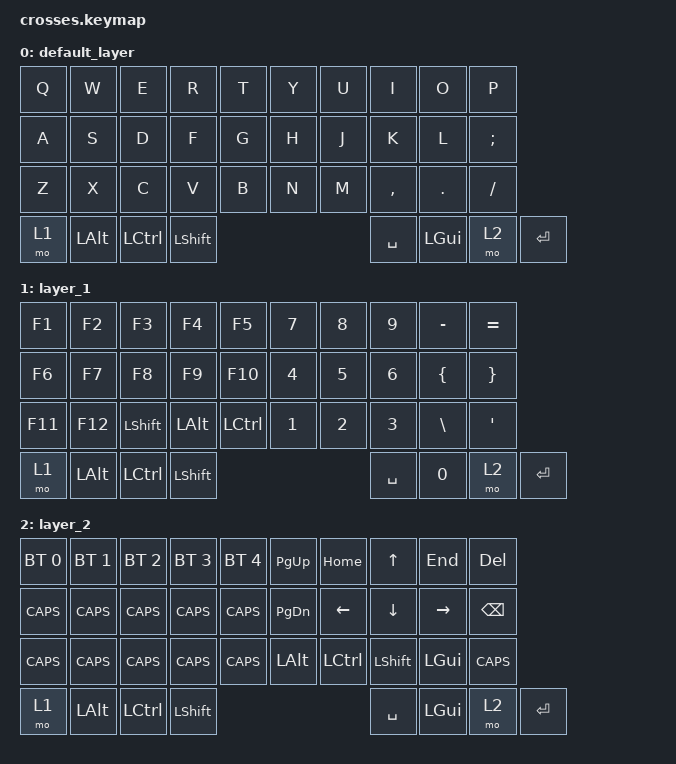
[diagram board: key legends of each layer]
/*
 * Copyright (c) 2020 The ZMK Contributors
 *
 * SPDX-License-Identifier: MIT
 */

#include <behaviors.dtsi>
#include <dt-bindings/zmk/keys.h>
#include <dt-bindings/zmk/bt.h>
#include <dt-bindings/zmk/mouse.h>

/ {
    // 左トラックボールをスクロール専用にする設定
    // 最新のZMKでは、このtrackball-move-scroll機能が利用可能です。
    trackball_left_scroll: trackball_left_scroll {
        compatible = "zmk,behavior-trackball";
        label = "TRACKBALL_LEFT_SCROLL";
        bindings = <&trackball_move_scroll>;
    };

    keymap {
        compatible = "zmk,keymap";

        default_layer {
            bindings = <
&kp Q  &kp W  &kp E  &kp R  &kp T  &kp Y  &kp U  &kp I  &kp O  &kp P
&kp A  &kp S  &kp D  &kp F  &kp G  &kp H  &kp J  &kp K  &kp L  &kp SEMI
&kp Z  &kp X  &kp C  &kp V  &kp B  &kp N  &kp M  &kp COMMA  &kp DOT  &kp SLASH
&mo 1  &kp LALT  &kp LCTRL  &kp LSHFT  &kp SPACE  &kp LGUI  &mo 2  &kp RET
            >;
        };

        layer_1 {
            bindings = <
&kp F1  &kp F2  &kp F3  &kp F4  &kp F5  &kp N7  &kp N8  &kp N9  &kp MINUS  &kp EQUAL
&kp F6  &kp F7  &kp F8  &kp F9  &kp F10  &kp N4  &kp N5  &kp N6  &kp LBRC  &kp RBRC
&kp F11  &kp F12  &kp LSHFT  &kp LALT  &kp LCTRL  &kp N1  &kp N2  &kp N3  &kp BSLH  &kp SQT
&mo 1  &kp LALT  &kp LCTRL  &kp LSHFT  &kp SPACE  &kp N0  &mo 2  &kp RET
            >;
        };

        layer_2 {
            bindings = <
&bt BT_SEL 0  &bt BT_SEL 1  &bt BT_SEL 2  &bt BT_SEL 3  &bt BT_SEL 4  &kp PG_UP  &kp HOME  &kp UP  &kp END  &kp DEL
&kp K_CAPS  &kp K_CAPS  &kp K_CAPS  &kp K_CAPS  &kp K_CAPS  &kp PG_DN  &kp LEFT  &kp DOWN  &kp RIGHT  &kp BSPC
&kp K_CAPS  &kp K_CAPS  &kp K_CAPS  &kp K_CAPS  &kp K_CAPS  &kp LALT  &kp LCTRL  &kp LSHFT  &kp LGUI  &kp K_CAPS
&mo 1  &kp LALT  &kp LCTRL  &kp LSHFT  &kp SPACE  &kp LGUI  &mo 2  &kp RET
            >;
        };
    };

    // 左トラックボールにスクロール動作を割り当て
    &trackball_left {
        bindings = <&trackball_left_scroll>;
    };
};
